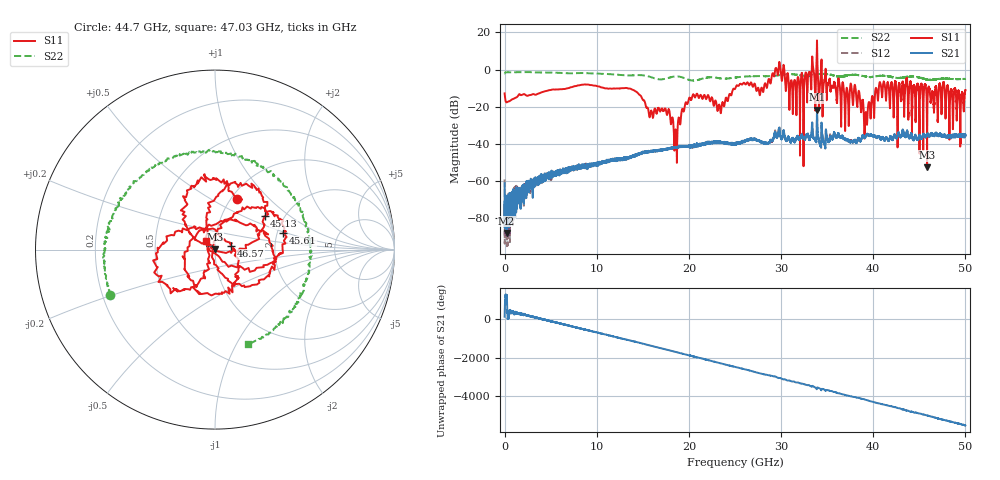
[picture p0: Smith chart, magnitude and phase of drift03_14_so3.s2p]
!Created with skrf (http://scikit-rf.org).
# Hz S RI R 50.0
!freq ReS11 ImS11 ReS21 ImS21 ReS12 ImS12 ReS22 ImS22
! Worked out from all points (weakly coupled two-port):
!   10001 points, 300 kHz to 50 GHz, reference 50 ohm
!   highest |S21| = -21.55 dB at 33.9 GHz (marker M1); lowest = -87.8 dB at 215.3 MHz (marker M2)
!   lowest |S11| = -52.5 dB at 45.85 GHz (marker M3), VSWR 1.00, Z = 49.9 + j0.198 ohm
!   |S11| at or under -10 dB: start of sweep to 6.945 GHz; 13.32 GHz to 25.04 GHz (11.73 GHz wide, 61.1 % of centre); 38.08 GHz to 40.27 GHz (2.195 GHz wide, 5.6 % of centre) (the widest 3 of 61)
!   |S22| runs from -5.9 to -1.3 dB; largest |S21 - S12| = 0.0087
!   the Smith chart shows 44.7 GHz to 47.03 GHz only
!   S11 on the Smith chart (normalised r, x): 44.7 GHz: 1.06, +0.67; 45.13 GHz: 1.59, +0.67; 45.61 GHz: 2.15, +0.48; 46.57 GHz: 1.19, +0.05; 47.03 GHz: 0.90, +0.09
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300000  -0.2079 -0.096  -0.000184 0.00087  -0.000531 0.000987  -0.7677 -0.1834
2.152987e8  -0.1128 0.0678  3.63e-05 1.8e-05  0.000101 0.000175  -0.7708 0.3514
1.535291e9  0.2047 0.0434  2.33e-05 -0.000328  -7.12e-05 -0.00041  0.8484 0.0767
3.160281e9  -0.2186 -0.00845  0.000108 0.000765  0.000137 0.000933  -0.8448 -0.0246
4.665272e9  0.2633 0.061  -0.000163 -0.00152  7.09e-05 -0.00137  0.8181 0.1418
6.360262e9  -0.2999 0.000509  0.000381 0.0016  0.000726 0.00169  -0.8036 -0.0414
8.33525e9  0.2839 -0.2682  -0.00234 -0.00112  -0.00233 -0.000921  0.6012 -0.5362
9.585242e9  -0.371 -0.0408  0.0014 0.00241  0.00138 0.00251  -0.7864 -0.0783
1.123523e10  0.3058 0.0289  -0.00237 -0.00267  -0.0021 -0.00272  0.7568 0.035
1.66702e10  0.0537 0.0759  0.00466 -0.0049  0.00457 -0.00506  -0.3559 0.4203
2.500015e10  -0.2976 -0.0477  0.00759 0.00671  0.00761 0.0064  -0.1867 -0.5815
3.33351e10  0.4332 -1.01  -0.00348 0.0245  -0.00529 0.0243  0.613 0.3659
3.39001e10  1.55 -5.628  0.0736 0.0398  0.0699 0.0349  0.6795 -0.3247
4.167005e10  -0.2098 0.2836  -0.0116 -0.00439  -0.0115 -0.00497  -0.6525 -0.0534
4.323504e10  0.1239 -0.4013  0.021 0.00696  0.0212 0.00668  0.6105 -0.0145
4.470003e10  0.1225 0.2838  -0.0136 -0.0051  -0.0133 -0.0049  -0.583 -0.2529
4.513003e10  0.2759 0.1863  -0.0133 0.0069  -0.0139 0.00647  -0.5619 0.2032
4.560503e10  0.3803 0.094  -0.0023 0.0157  -0.00136 0.0167  -0.1697 0.5225
4.584502e10  -0.00131 0.00198  0.009 0.0155  0.00924 0.0157  0.1037 0.527
4.656502e10  0.0881 0.0202  0.0143 -0.00932  0.0147 -0.00936  0.5186 -0.1343
4.702502e10  -0.0493 0.0495  0.000228 -0.0169  0.000662 -0.0166  0.1858 -0.5269
5e10  -0.1545 -0.2362  0.000489 -0.0166  0.00066 -0.0168  0.4635 -0.3173
